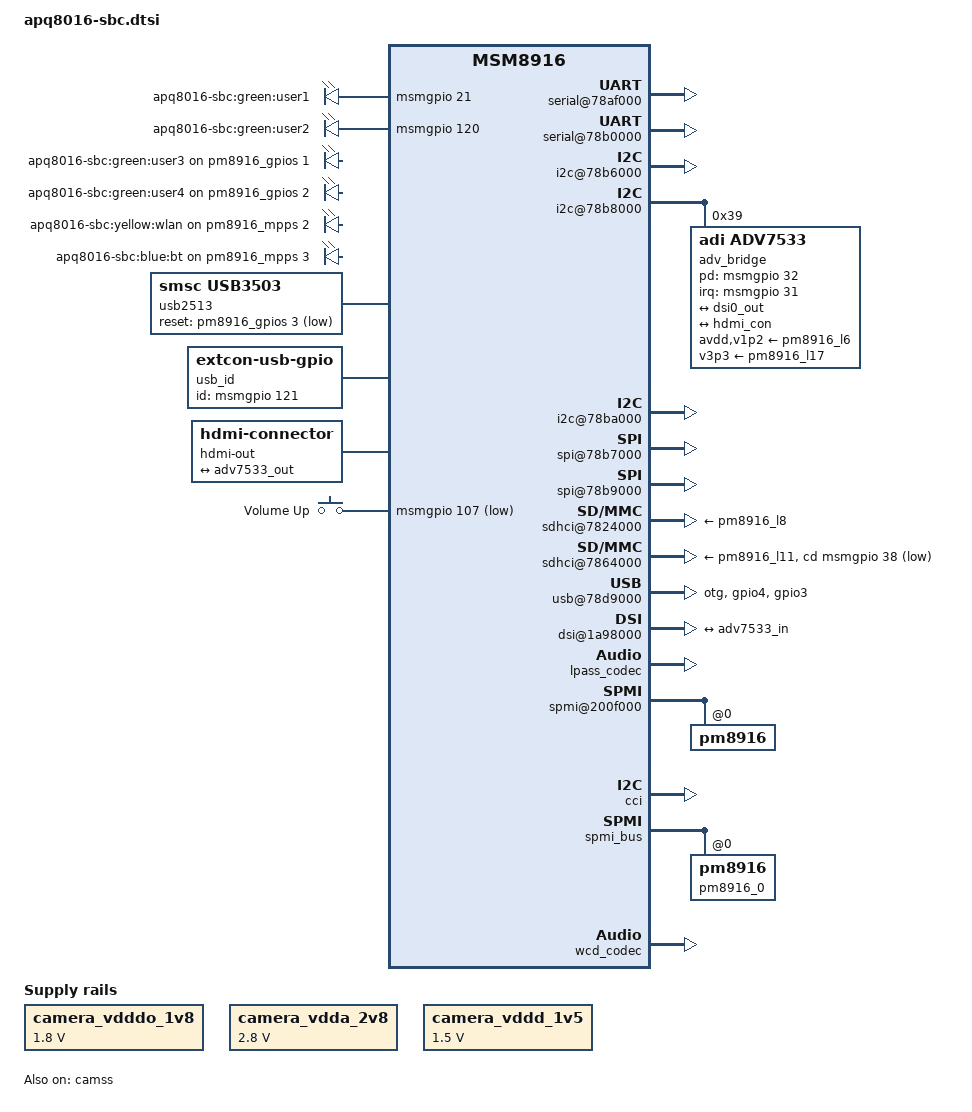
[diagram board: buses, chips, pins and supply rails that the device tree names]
// SPDX-License-Identifier: GPL-2.0-only
/*
 * Copyright (c) 2015, The Linux Foundation. All rights reserved.
 */

#include "msm8916.dtsi"
#include "pm8916.dtsi"
#include <dt-bindings/gpio/gpio.h>
#include <dt-bindings/input/input.h>
#include <dt-bindings/pinctrl/qcom,pmic-gpio.h>
#include <dt-bindings/pinctrl/qcom,pmic-mpp.h>
#include <dt-bindings/sound/apq8016-lpass.h>

/*
 * GPIO name legend: proper name = the GPIO line is used as GPIO
 *         NC = not connected (pin out but not routed from the chip to
 *              anything the board)
 *         "[PER]" = pin is muxed for [peripheral] (not GPIO)
 *         LSEC = Low Speed External Connector
 *         HSEC = High Speed External Connector
 *
 * Line names are taken from the schematic "DragonBoard410c"
 * dated monday, august 31, 2015. Page 5 in particular.
 *
 * For the lines routed to the external connectors the
 * lines are named after the 96Boards CE Specification 1.0,
 * Appendix "Expansion Connector Signal Description".
 *
 * When the 96Board naming of a line and the schematic name of
 * the same line are in conflict, the 96Board specification
 * takes precedence, which means that the external UART on the
 * LSEC is named UART0 while the schematic and SoC names this
 * UART3. This is only for the informational lines i.e. "[FOO]",
 * the GPIO named lines "GPIO-A" thru "GPIO-L" are the only
 * ones actually used for GPIO.
 */

/ {
	aliases {
		serial0 = &blsp1_uart2;
		serial1 = &blsp1_uart1;
		usid0 = &pm8916_0;
		i2c0	= &blsp_i2c2;
		i2c1	= &blsp_i2c6;
		i2c3	= &blsp_i2c4;
		spi0	= &blsp_spi5;
		spi1	= &blsp_spi3;
	};

	chosen {
		stdout-path = "serial0";
	};

	camera_vdddo_1v8: camera-vdddo-1v8 {
		compatible = "regulator-fixed";
		regulator-name = "camera_vdddo";
		regulator-min-microvolt = <1800000>;
		regulator-max-microvolt = <1800000>;
		regulator-always-on;
	};

	camera_vdda_2v8: camera-vdda-2v8 {
		compatible = "regulator-fixed";
		regulator-name = "camera_vdda";
		regulator-min-microvolt = <2800000>;
		regulator-max-microvolt = <2800000>;
		regulator-always-on;
	};

	camera_vddd_1v5: camera-vddd-1v5 {
		compatible = "regulator-fixed";
		regulator-name = "camera_vddd";
		regulator-min-microvolt = <1500000>;
		regulator-max-microvolt = <1500000>;
		regulator-always-on;
	};

	reserved-memory {
		ramoops@bff00000{
			compatible = "ramoops";
			reg = <0x0 0xbff00000 0x0 0x100000>;

			record-size = <0x20000>;
			console-size = <0x20000>;
			ftrace-size = <0x20000>;
		};
	};

	soc {
		pinctrl@1000000 {
			gpio-line-names =
				"[UART0_TX]", /* GPIO_0, LSEC pin 5 */
				"[UART0_RX]", /* GPIO_1, LSEC pin 7 */
				"[UART0_CTS_N]", /* GPIO_2, LSEC pin 3 */
				"[UART0_RTS_N]", /* GPIO_3, LSEC pin 9 */
				"[UART1_TX]", /* GPIO_4, LSEC pin 11 */
				"[UART1_RX]", /* GPIO_5, LSEC pin 13 */
				"[I2C0_SDA]", /* GPIO_8, LSEC pin 17 */
				"[I2C0_SCL]", /* GPIO_7, LSEC pin 15 */
				"[SPI1_DOUT]", /* SPI1_MOSI, HSEC pin 1 */
				"[SPI1_DIN]", /* SPI1_MISO, HSEC pin 11 */
				"[SPI1_CS]", /* SPI1_CS_N, HSEC pin 7 */
				"[SPI1_SCLK]", /* SPI1_CLK, HSEC pin 9 */
				"GPIO-B", /* LS_EXP_GPIO_B, LSEC pin 24 */
				"GPIO-C", /* LS_EXP_GPIO_C, LSEC pin 25 */
				"[I2C3_SDA]", /* HSEC pin 38 */
				"[I2C3_SCL]", /* HSEC pin 36 */
				"[SPI0_MOSI]", /* LSEC pin 14 */
				"[SPI0_MISO]", /* LSEC pin 10 */
				"[SPI0_CS_N]", /* LSEC pin 12 */
				"[SPI0_CLK]", /* LSEC pin 8 */
				"HDMI_HPD_N", /* GPIO 20 */
				"USR_LED_1_CTRL",
				"[I2C1_SDA]", /* GPIO_22, LSEC pin 21 */
				"[I2C1_SCL]", /* GPIO_23, LSEC pin 19 */
				"GPIO-G", /* LS_EXP_GPIO_G, LSEC pin 29 */
				"GPIO-H", /* LS_EXP_GPIO_H, LSEC pin 30 */
				"[CSI0_MCLK]", /* HSEC pin 15 */
				"[CSI1_MCLK]", /* HSEC pin 17 */
				"GPIO-K", /* LS_EXP_GPIO_K, LSEC pin 33 */
				"[I2C2_SDA]", /* HSEC pin 34 */
				"[I2C2_SCL]", /* HSEC pin 32 */
				"DSI2HDMI_INT_N",
				"DSI_SW_SEL_APQ",
				"GPIO-L", /* LS_EXP_GPIO_L, LSEC pin 34 */
				"GPIO-J", /* LS_EXP_GPIO_J, LSEC pin 32 */
				"GPIO-I", /* LS_EXP_GPIO_I, LSEC pin 31 */
				"GPIO-A", /* LS_EXP_GPIO_A, LSEC pin 23 */
				"FORCED_USB_BOOT",
				"SD_CARD_DET_N",
				"[WCSS_BT_SSBI]",
				"[WCSS_WLAN_DATA_2]", /* GPIO 40 */
				"[WCSS_WLAN_DATA_1]",
				"[WCSS_WLAN_DATA_0]",
				"[WCSS_WLAN_SET]",
				"[WCSS_WLAN_CLK]",
				"[WCSS_FM_SSBI]",
				"[WCSS_FM_SDI]",
				"[WCSS_BT_DAT_CTL]",
				"[WCSS_BT_DAT_STB]",
				"NC",
				"NC", /* GPIO 50 */
				"NC",
				"NC",
				"NC",
				"NC",
				"NC",
				"NC",
				"NC",
				"NC",
				"NC",
				"NC", /* GPIO 60 */
				"NC",
				"NC",
				"[CDC_PDM0_CLK]",
				"[CDC_PDM0_SYNC]",
				"[CDC_PDM0_TX0]",
				"[CDC_PDM0_RX0]",
				"[CDC_PDM0_RX1]",
				"[CDC_PDM0_RX2]",
				"GPIO-D", /* LS_EXP_GPIO_D, LSEC pin 26 */
				"NC", /* GPIO 70 */
				"NC",
				"NC",
				"NC",
				"NC", /* GPIO 74 */
				"NC",
				"NC",
				"NC",
				"NC",
				"NC",
				"BOOT_CONFIG_0", /* GPIO 80 */
				"BOOT_CONFIG_1",
				"BOOT_CONFIG_2",
				"BOOT_CONFIG_3",
				"NC",
				"NC",
				"BOOT_CONFIG_5",
				"NC",
				"NC",
				"NC",
				"NC", /* GPIO 90 */
				"NC",
				"NC",
				"NC",
				"NC",
				"NC",
				"NC",
				"NC",
				"NC",
				"NC",
				"NC", /* GPIO 100 */
				"NC",
				"NC",
				"NC",
				"SSBI_GPS",
				"NC",
				"NC",
				"KEY_VOLP_N",
				"NC",
				"NC",
				"[LS_EXP_MI2S_WS]", /* GPIO 110 */
				"NC",
				"NC",
				"[LS_EXP_MI2S_SCK]",
				"[LS_EXP_MI2S_DATA0]",
				"GPIO-E", /* LS_EXP_GPIO_E, LSEC pin 27 */
				"NC",
				"[DSI2HDMI_MI2S_WS]",
				"[DSI2HDMI_MI2S_SCK]",
				"[DSI2HDMI_MI2S_DATA0]",
				"USR_LED_2_CTRL", /* GPIO 120 */
				"SB_HS_ID";
		};

		dma@7884000 {
			status = "okay";
		};

		serial@78af000 {
			label = "LS-UART0";
			status = "okay";
			pinctrl-names = "default", "sleep";
			pinctrl-0 = <&blsp1_uart1_default>;
			pinctrl-1 = <&blsp1_uart1_sleep>;
		};

		serial@78b0000 {
			label = "LS-UART1";
			status = "okay";
			pinctrl-names = "default", "sleep";
			pinctrl-0 = <&blsp1_uart2_default>;
			pinctrl-1 = <&blsp1_uart2_sleep>;
		};

		i2c@78b6000 {
		/* On Low speed expansion */
			label = "LS-I2C0";
			status = "okay";
		};

		i2c@78b8000 {
		/* On High speed expansion */
			label = "HS-I2C2";
			status = "okay";

			adv_bridge: bridge@39 {
				status = "okay";

				compatible = "adi,adv7533";
				reg = <0x39>;

				interrupt-parent = <&msmgpio>;
				interrupts = <31 2>;

				adi,dsi-lanes = <4>;
				clocks = <&rpmcc RPM_SMD_BB_CLK2>;
				clock-names = "cec";

				pd-gpios = <&msmgpio 32 0>;

				avdd-supply = <&pm8916_l6>;
				v1p2-supply = <&pm8916_l6>;
				v3p3-supply = <&pm8916_l17>;

				pinctrl-names = "default","sleep";
				pinctrl-0 = <&adv7533_int_active &adv7533_switch_active>;
				pinctrl-1 = <&adv7533_int_suspend &adv7533_switch_suspend>;
				#sound-dai-cells = <1>;

				ports {
					#address-cells = <1>;
					#size-cells = <0>;

					port@0 {
						reg = <0>;
						adv7533_in: endpoint {
							remote-endpoint = <&dsi0_out>;
						};
					};

					port@1 {
						reg = <1>;
						adv7533_out: endpoint {
							remote-endpoint = <&hdmi_con>;
						};
					};
				};
			};
		};

		i2c@78ba000 {
		/* On Low speed expansion */
			label = "LS-I2C1";
			status = "okay";
		};

		spi@78b7000 {
		/* On High speed expansion */
			label = "HS-SPI1";
			status = "okay";
		};

		spi@78b9000 {
		/* On Low speed expansion */
			label = "LS-SPI0";
			status = "okay";
		};

		leds {
			pinctrl-names = "default";
			pinctrl-0 = <&msmgpio_leds>,
				    <&pm8916_gpios_leds>,
				    <&pm8916_mpps_leds>;

			compatible = "gpio-leds";

			led@1 {
				label = "apq8016-sbc:green:user1";
				gpios = <&msmgpio 21 GPIO_ACTIVE_HIGH>;
				linux,default-trigger = "heartbeat";
				default-state = "off";
			};

			led@2 {
				label = "apq8016-sbc:green:user2";
				gpios = <&msmgpio 120 GPIO_ACTIVE_HIGH>;
				linux,default-trigger = "mmc0";
				default-state = "off";
			};

			led@3 {
				label = "apq8016-sbc:green:user3";
				gpios = <&pm8916_gpios 1 GPIO_ACTIVE_HIGH>;
				linux,default-trigger = "mmc1";
				default-state = "off";
			};

			led@4 {
				label = "apq8016-sbc:green:user4";
				gpios = <&pm8916_gpios 2 GPIO_ACTIVE_HIGH>;
				linux,default-trigger = "none";
				panic-indicator;
				default-state = "off";
			};

			led@5 {
				label = "apq8016-sbc:yellow:wlan";
				gpios = <&pm8916_mpps 2 GPIO_ACTIVE_HIGH>;
				linux,default-trigger = "phy0tx";
				default-state = "off";
			};

			led@6 {
				label = "apq8016-sbc:blue:bt";
				gpios = <&pm8916_mpps 3 GPIO_ACTIVE_HIGH>;
				linux,default-trigger = "bluetooth-power";
				default-state = "off";
			};
		};

		sdhci@7824000 {
			vmmc-supply = <&pm8916_l8>;
			vqmmc-supply = <&pm8916_l5>;

			pinctrl-names = "default", "sleep";
			pinctrl-0 = <&sdc1_clk_on &sdc1_cmd_on &sdc1_data_on>;
			pinctrl-1 = <&sdc1_clk_off &sdc1_cmd_off &sdc1_data_off>;
			status = "okay";
		};

		sdhci@7864000 {
			vmmc-supply = <&pm8916_l11>;
			vqmmc-supply = <&pm8916_l12>;

			pinctrl-names = "default", "sleep";
			pinctrl-0 = <&sdc2_clk_on &sdc2_cmd_on &sdc2_data_on &sdc2_cd_on>;
			pinctrl-1 = <&sdc2_clk_off &sdc2_cmd_off &sdc2_data_off &sdc2_cd_off>;

			cd-gpios = <&msmgpio 38 0x1>;
			status = "okay";
		};

		usb@78d9000 {
			extcon = <&usb_id>, <&usb_id>;
			status = "okay";
			adp-disable;
			hnp-disable;
			srp-disable;
			dr_mode = "otg";
			pinctrl-names = "default", "device";
			pinctrl-0 = <&usb_sw_sel_pm &usb_hub_reset_pm>;
			pinctrl-1 = <&usb_sw_sel_pm_device &usb_hub_reset_pm_device>;
			ulpi {
				phy {
					v1p8-supply = <&pm8916_l7>;
					v3p3-supply = <&pm8916_l13>;
					extcon = <&usb_id>;
				};
			};
		};

		lpass@7708000 {
			status = "okay";
		};

		mdss@1a00000 {
			status = "okay";

			mdp@1a01000 {
				status = "okay";
			};

			dsi@1a98000 {
				status = "okay";

				vdda-supply = <&pm8916_l2>;
				vddio-supply = <&pm8916_l6>;

				ports {
					port@1 {
						endpoint {
							remote-endpoint = <&adv7533_in>;
							data-lanes = <0 1 2 3>;
						};
					};
				};
			};

			dsi-phy@1a98300 {
				status = "okay";

				vddio-supply = <&pm8916_l6>;
			};
		};

		lpass_codec: codec{
			status = "okay";
		};

		/*
		Internal Codec
			playback - Primary MI2S
			capture - Ter MI2S

		External Primary:
			playback - secondary MI2S
			capture - Quat MI2S

		External Secondary:
			playback - Quat MI2S
			capture - Quat MI2S

		*/

                sound: sound {
                        compatible = "qcom,apq8016-sbc-sndcard";
                        reg = <0x07702000 0x4>, <0x07702004 0x4>;
                        reg-names = "mic-iomux", "spkr-iomux";

                        status = "okay";
                        pinctrl-0 = <&cdc_pdm_lines_act &ext_sec_tlmm_lines_act &ext_mclk_tlmm_lines_act>;
                        pinctrl-1 = <&cdc_pdm_lines_sus &ext_sec_tlmm_lines_sus &ext_mclk_tlmm_lines_sus>;
                        pinctrl-names = "default", "sleep";
                        qcom,model = "DB410c";
                        qcom,audio-routing =
                                "AMIC2", "MIC BIAS Internal2",
                                "AMIC3", "MIC BIAS External1";
			external-dai-link@0 {
				link-name = "ADV7533";
				cpu { /* QUAT */
					sound-dai = <&lpass MI2S_QUATERNARY>;
				};
				codec {
					sound-dai = <&adv_bridge 0>;
				};
			};

                        internal-codec-playback-dai-link@0 {            /* I2S - Internal codec */
                                link-name = "WCD";
                                cpu { /* PRIMARY */
                                        sound-dai = <&lpass MI2S_PRIMARY>;
                                };
                                codec {
                                        sound-dai = <&lpass_codec 0>, <&wcd_codec 0>;
                                };
                        };

                        internal-codec-capture-dai-link@0 {             /* I2S - Internal codec */
                                link-name = "WCD-Capture";
                                cpu { /* PRIMARY */
                                        sound-dai = <&lpass MI2S_TERTIARY>;
                                };
                                codec {
                                        sound-dai = <&lpass_codec 1>, <&wcd_codec 1>;
                                };
                        };
                };

		spmi@200f000 {
			pm8916@0 {
				gpios@c000 {
					gpio-line-names =
						"USR_LED_3_CTRL",
						"USR_LED_4_CTRL",
						"USB_HUB_RESET_N_PM",
						"USB_SW_SEL_PM";
				};
				mpps@a000 {
					gpio-line-names =
						"VDD_PX_BIAS",
						"WLAN_LED_CTRL",
						"BT_LED_CTRL",
						"GPIO-F"; /* LS_EXP_GPIO_F, LSEC pin 28 */
				};
			};
		};

		wcnss@a21b000 {
			status = "okay";
		};

		tpiu@820000 { status = "okay"; };
		funnel@821000 { status = "okay"; };
		replicator@824000 { status = "okay"; };
		etf@825000 { status = "okay"; };
		etr@826000 { status = "okay"; };
		funnel@841000 { status = "okay"; };
		debug@850000 { status = "okay"; };
		debug@852000 { status = "okay"; };
		debug@854000 { status = "okay"; };
		debug@856000 { status = "okay"; };
		etm@85c000 { status = "okay"; };
		etm@85d000 { status = "okay"; };
		etm@85e000 { status = "okay"; };
		etm@85f000 { status = "okay"; };
		cti@810000 { status = "okay"; };
		cti@811000 { status = "okay"; };
		cti@858000 { status = "okay"; };
		cti@859000 { status = "okay"; };
		cti@85a000 { status = "okay"; };
		cti@85b000 { status = "okay"; };
	};

	usb2513 {
		compatible = "smsc,usb3503";
		reset-gpios = <&pm8916_gpios 3 GPIO_ACTIVE_LOW>;
		initial-mode = <1>;
	};

	usb_id: usb-id {
		compatible = "linux,extcon-usb-gpio";
		id-gpio = <&msmgpio 121 GPIO_ACTIVE_HIGH>;
		pinctrl-names = "default";
		pinctrl-0 = <&usb_id_default>;
	};

	hdmi-out {
		compatible = "hdmi-connector";
		type = "a";

		port {
			hdmi_con: endpoint {
				remote-endpoint = <&adv7533_out>;
			};
		};
	};

	gpio-keys {
		compatible = "gpio-keys";
		#address-cells = <1>;
		#size-cells = <0>;
		autorepeat;

		pinctrl-names = "default";
		pinctrl-0 = <&msm_key_volp_n_default>;

		button@0 {
			label = "Volume Up";
			linux,code = <KEY_VOLUMEUP>;
			gpios = <&msmgpio 107 GPIO_ACTIVE_LOW>;
		};
	};
};

&camss {
	status = "ok";
	ports {
		#address-cells = <1>;
		#size-cells = <0>;
		port@0 {
			reg = <0>;
			csiphy0_ep: endpoint {
				clock-lanes = <1>;
				data-lanes = <0 2>;
				remote-endpoint = <&ov5640_ep>;
				status = "okay";
			};
		};
	};
};

&cci {
	status = "ok";
};

&cci_i2c0 {
	camera_rear@3b {
		compatible = "ovti,ov5640";
		reg = <0x3b>;

		enable-gpios = <&msmgpio 34 GPIO_ACTIVE_HIGH>;
		reset-gpios = <&msmgpio 35 GPIO_ACTIVE_LOW>;
		pinctrl-names = "default";
		pinctrl-0 = <&camera_rear_default>;

		clocks = <&gcc GCC_CAMSS_MCLK0_CLK>;
		clock-names = "xclk";
		clock-frequency = <23880000>;

		vdddo-supply = <&camera_vdddo_1v8>;
		vdda-supply = <&camera_vdda_2v8>;
		vddd-supply = <&camera_vddd_1v5>;

		/* No camera mezzanine by default */
		status = "disabled";

		port {
			ov5640_ep: endpoint {
				clock-lanes = <1>;
				data-lanes = <0 2>;
				remote-endpoint = <&csiphy0_ep>;
			};
		};
	};
};

&spmi_bus {
	pm8916_0: pm8916@0 {
		pon@800 {
			resin {
				compatible = "qcom,pm8941-resin";
				interrupts = <0x0 0x8 1 IRQ_TYPE_EDGE_BOTH>;
				debounce = <15625>;
				bias-pull-up;
				linux,code = <KEY_VOLUMEDOWN>;
			};
		};
	};
};

&wcd_codec {
        status = "okay";
        clocks = <&gcc GCC_CODEC_DIGCODEC_CLK>;
        clock-names = "mclk";
	qcom,mbhc-vthreshold-low = <75 150 237 450 500>;
	qcom,mbhc-vthreshold-high = <75 150 237 450 500>;
};

&smd_rpm_regulators {
	vdd_l1_l2_l3-supply = <&pm8916_s3>;
	vdd_l4_l5_l6-supply = <&pm8916_s4>;
	vdd_l7-supply = <&pm8916_s4>;

	s1 {
		regulator-min-microvolt = <375000>;
		regulator-max-microvolt = <1562000>;
	};

	s3 {
		regulator-min-microvolt = <375000>;
		regulator-max-microvolt = <1562000>;
	};

	s4 {
		regulator-min-microvolt = <1800000>;
		regulator-max-microvolt = <1800000>;

		regulator-always-on;
		regulator-boot-on;
	};

	l1 {
		regulator-min-microvolt = <375000>;
		regulator-max-microvolt = <1525000>;
	};

	l2 {
		regulator-min-microvolt = <1200000>;
		regulator-max-microvolt = <1200000>;
	};

	l3 {
		regulator-min-microvolt = <375000>;
		regulator-max-microvolt = <1525000>;
	};

	l4 {
		regulator-min-microvolt = <1750000>;
		regulator-max-microvolt = <3337000>;
	};

	l5 {
		regulator-min-microvolt = <1750000>;
		regulator-max-microvolt = <3337000>;
	};

	l6 {
		regulator-min-microvolt = <1800000>;
		regulator-max-microvolt = <1800000>;
	};

	l7 {
		regulator-min-microvolt = <1750000>;
		regulator-max-microvolt = <3337000>;
	};

	l8 {
		regulator-min-microvolt = <1750000>;
		regulator-max-microvolt = <3337000>;
	};

	l9 {
		regulator-min-microvolt = <1750000>;
		regulator-max-microvolt = <3337000>;
	};

	l10 {
		regulator-min-microvolt = <1750000>;
		regulator-max-microvolt = <3337000>;
	};

	l11 {
		regulator-min-microvolt = <1750000>;
		regulator-max-microvolt = <3337000>;
		regulator-allow-set-load;
		regulator-system-load = <200000>;
	};

	l12 {
		regulator-min-microvolt = <1750000>;
		regulator-max-microvolt = <3337000>;
	};

	l13 {
		regulator-min-microvolt = <1750000>;
		regulator-max-microvolt = <3337000>;
	};

	l14 {
		regulator-min-microvolt = <1750000>;
		regulator-max-microvolt = <3337000>;
	};

	/**
	 * 1.8v required on LS expansion
	 * for mezzanine boards
	 */
	l15 {
		regulator-min-microvolt = <1750000>;
		regulator-max-microvolt = <3337000>;
		regulator-always-on;
	};

	l16 {
		regulator-min-microvolt = <1750000>;
		regulator-max-microvolt = <3337000>;
	};

	l17 {
		regulator-min-microvolt = <3300000>;
		regulator-max-microvolt = <3300000>;
	};

	l18 {
		regulator-min-microvolt = <1750000>;
		regulator-max-microvolt = <3337000>;
	};
};

&msmgpio {
	msmgpio_leds: msmgpio-leds {
		pinconf {
			pins = "gpio21", "gpio120";
			function = "gpio";
			output-low;
		};
	};

	usb_id_default: usb-id-default {
		pinmux {
			function = "gpio";
			pins = "gpio121";
		};

		pinconf {
			pins = "gpio121";
			drive-strength = <8>;
			input-enable;
			bias-pull-up;
		};
	};

	adv7533_int_active: adv533-int-active {
		pinmux {
			function = "gpio";
			pins = "gpio31";
		};
		pinconf {
			pins = "gpio31";
			drive-strength = <16>;
			bias-disable;
		};
	};

	adv7533_int_suspend: adv7533-int-suspend {
		pinmux {
			function = "gpio";
			pins = "gpio31";
		};
		pinconf {
			pins = "gpio31";
			drive-strength = <2>;
			bias-disable;
		};
	};

	adv7533_switch_active: adv7533-switch-active {
		pinmux {
			function = "gpio";
			pins = "gpio32";
		};
		pinconf {
			pins = "gpio32";
			drive-strength = <16>;
			bias-disable;
		};
	};

	adv7533_switch_suspend: adv7533-switch-suspend {
		pinmux {
			function = "gpio";
			pins = "gpio32";
		};
		pinconf {
			pins = "gpio32";
			drive-strength = <2>;
			bias-disable;
		};
	};

	msm_key_volp_n_default: msm-key-volp-n-default {
		pinmux {
			function = "gpio";
			pins = "gpio107";
		};
		pinconf {
			pins = "gpio107";
			drive-strength = <8>;
			input-enable;
			bias-pull-up;
		};
	};
};

&pm8916_gpios {
	usb_hub_reset_pm: usb-hub-reset-pm {
		pinconf {
			pins = "gpio3";
			function = PMIC_GPIO_FUNC_NORMAL;
			input-disable;
			output-high;
		};
	};

	usb_hub_reset_pm_device: usb-hub-reset-pm-device {
		pinconf {
			pins = "gpio3";
			function = PMIC_GPIO_FUNC_NORMAL;
			output-low;
		};
	};

	usb_sw_sel_pm: usb-sw-sel-pm {
		pinconf {
			pins = "gpio4";
			function = PMIC_GPIO_FUNC_NORMAL;
			power-source = <PM8916_GPIO_VPH>;
			input-disable;
			output-high;
		};
	};

	usb_sw_sel_pm_device: usb-sw-sel-pm-device {
		pinconf {
			pins = "gpio4";
			function = PMIC_GPIO_FUNC_NORMAL;
			power-source = <PM8916_GPIO_VPH>;
			input-disable;
			output-low;
		};
	};

	pm8916_gpios_leds: pm8916-gpios-leds {
		pinconf {
			pins = "gpio1", "gpio2";
			function = PMIC_GPIO_FUNC_NORMAL;
			output-low;
		};
	};
};

&pm8916_mpps {
	pinctrl-names = "default";
	pinctrl-0 = <&ls_exp_gpio_f>;

	ls_exp_gpio_f: pm8916-mpp4 {
		pinconf {
			pins = "mpp4";
			function = "digital";
			output-low;
			power-source = <PM8916_MPP_L5>;	// 1.8V
		};
	};

	pm8916_mpps_leds: pm8916-mpps-leds {
		pinconf {
			pins = "mpp2", "mpp3";
			function = "digital";
			output-low;
		};
	};
};
